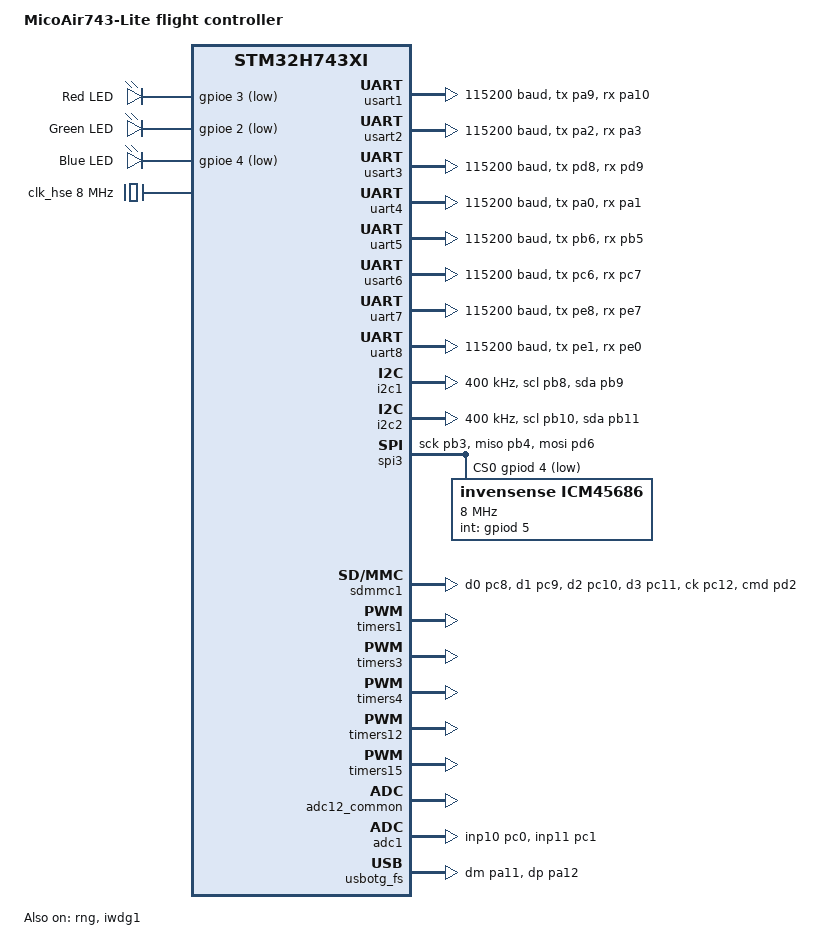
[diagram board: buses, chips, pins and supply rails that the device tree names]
/*
 * SPDX-FileCopyrightText: Copyright The Zephyr Project Contributors
 *
 * SPDX-License-Identifier: Apache-2.0
 */

/dts-v1/;
#include <st/h7/stm32h743Xi.dtsi>
#include <st/h7/stm32h743vitx-pinctrl.dtsi>
#include <zephyr/dt-bindings/sensor/icm45686.h>

/ {
	model = "MicoAir743-Lite flight controller";
	compatible = "micoair,micoair743-lite";

	chosen {
		zephyr,sram = &sram0;
		zephyr,flash = &flash0;
		zephyr,dtcm = &dtcm;
	};

	leds {
		compatible = "gpio-leds";

		red_led: led_0 {
			gpios = <&gpioe 3 GPIO_ACTIVE_LOW>;
			label = "Red LED";
		};

		green_led: led_1 {
			gpios = <&gpioe 2 GPIO_ACTIVE_LOW>;
			label = "Green LED";
		};

		blue_led: led_2 {
			gpios = <&gpioe 4 GPIO_ACTIVE_LOW>;
			label = "Blue LED";
		};
	};

	aliases {
		led0 = &blue_led;
		led1 = &green_led;
		led2 = &red_led;
		accel0 = &icm45686;
		sdhc0 = &sdmmc1;
		watchdog0 = &iwdg;
	};
};

&clk_hse {
	clock-frequency = <DT_FREQ_M(8)>;
	status = "okay";
};

&clk_hsi48 {
	status = "okay";
};

/* SYSCLK = 480 MHz, PLL1_Q = 192 MHz (SPI1/2/3 kernel clock) */
&pll {
	div-m = <2>;
	mul-n = <240>;
	div-p = <2>;
	div-q = <5>;
	div-r = <2>;
	clocks = <&clk_hse>;
	status = "okay";
};

/* PLL2_R = 48 MHz (SDMMC kernel clock) */
&pll2 {
	div-m = <2>;
	mul-n = <120>;
	div-p = <2>;
	div-q = <4>;
	div-r = <10>;
	clocks = <&clk_hse>;
	status = "okay";
};

&rcc {
	clocks = <&pll>;
	clock-frequency = <DT_FREQ_M(480)>;
	d1cpre = <1>;
	hpre = <2>;
	d1ppre = <2>;
	d2ppre1 = <2>;
	d2ppre2 = <2>;
	d3ppre = <2>;
};

&pwr {
	power-supply = "ldo";
};

/* TELEM1 */
&usart1 {
	pinctrl-0 = <&usart1_tx_pa9 &usart1_rx_pa10>;
	pinctrl-names = "default";
	current-speed = <115200>;
	status = "okay";
};

/* HD VTX (DisplayPort) */
&usart2 {
	pinctrl-0 = <&usart2_tx_pa2 &usart2_rx_pa3>;
	pinctrl-names = "default";
	current-speed = <115200>;
	status = "okay";
};

/* GPS */
&usart3 {
	pinctrl-0 = <&usart3_tx_pd8 &usart3_rx_pd9>;
	pinctrl-names = "default";
	current-speed = <115200>;
	status = "okay";
};

/* TELEM2 */
&uart4 {
	pinctrl-0 = <&uart4_tx_pa0 &uart4_rx_pa1>;
	pinctrl-names = "default";
	current-speed = <115200>;
	status = "okay";
};

&uart5 {
	pinctrl-0 = <&uart5_tx_pb6 &uart5_rx_pb5>;
	pinctrl-names = "default";
	current-speed = <115200>;
	status = "okay";
};

/* RC input */
&usart6 {
	pinctrl-0 = <&usart6_tx_pc6 &usart6_rx_pc7>;
	pinctrl-names = "default";
	current-speed = <115200>;
	status = "okay";
};

/* ESC telemetry */
&uart7 {
	pinctrl-0 = <&uart7_tx_pe8 &uart7_rx_pe7>;
	pinctrl-names = "default";
	current-speed = <115200>;
	status = "okay";
};

/* On-board Bluetooth module */
&uart8 {
	pinctrl-0 = <&uart8_tx_pe1 &uart8_rx_pe0>;
	pinctrl-names = "default";
	current-speed = <115200>;
	status = "okay";
};

/* External I2C connector */
&i2c1 {
	pinctrl-0 = <&i2c1_scl_pb8 &i2c1_sda_pb9>;
	pinctrl-names = "default";
	clock-frequency = <I2C_BITRATE_FAST>;
	status = "okay";
};

/* On-board SPA06 barometer at address 0x77, data ready on PD0 */
&i2c2 {
	pinctrl-0 = <&i2c2_scl_pb10 &i2c2_sda_pb11>;
	pinctrl-names = "default";
	clock-frequency = <I2C_BITRATE_FAST>;
	status = "okay";
};

&spi3 {
	pinctrl-0 = <&spi3_sck_pb3 &spi3_miso_pb4 &spi3_mosi_pd6>;
	pinctrl-names = "default";
	cs-gpios = <&gpiod 4 GPIO_ACTIVE_LOW>;
	status = "okay";

	icm45686: icm45686@0 {
		compatible = "invensense,icm45686";
		reg = <0>;
		spi-max-frequency = <DT_FREQ_M(8)>;
		int-gpios = <&gpiod 5 GPIO_ACTIVE_HIGH>;
		accel-pwr-mode = <ICM45686_DT_ACCEL_LN>;
		accel-fs = <ICM45686_DT_ACCEL_FS_16>;
		accel-odr = <ICM45686_DT_ACCEL_ODR_1600>;
		gyro-pwr-mode = <ICM45686_DT_GYRO_LN>;
		gyro-fs = <ICM45686_DT_GYRO_FS_2000>;
		gyro-odr = <ICM45686_DT_GYRO_ODR_1600>;
	};
};

&sdmmc1 {
	clocks = <&rcc STM32_CLOCK(AHB3, 16)>,
		 <&rcc STM32_SRC_PLL2_R SDMMC_SEL(1)>;
	pinctrl-0 = <&sdmmc1_d0_pc8 &sdmmc1_d1_pc9
		     &sdmmc1_d2_pc10 &sdmmc1_d3_pc11
		     &sdmmc1_ck_pc12 &sdmmc1_cmd_pd2>;
	pinctrl-names = "default";
	disk-name = "SD";
	status = "okay";
};

/*
 * Motor/servo outputs. All timers are clocked at 240 MHz; a prescaler of 239
 * gives a 1 MHz counter clock, suitable for standard servo and ESC PWM.
 */

/* M1-M4 */
&timers1 {
	st,prescaler = <239>;
	status = "okay";

	pwm1: pwm {
		pinctrl-0 = <&tim1_ch1_pe9 &tim1_ch2_pe11 &tim1_ch3_pe13 &tim1_ch4_pe14>;
		pinctrl-names = "default";
		status = "okay";
	};
};

/* M5-M8 */
&timers3 {
	st,prescaler = <239>;
	status = "okay";

	pwm3: pwm {
		pinctrl-0 = <&tim3_ch1_pa6 &tim3_ch2_pa7 &tim3_ch3_pb0 &tim3_ch4_pb1>;
		pinctrl-names = "default";
		status = "okay";
	};
};

/* M11, M12 and LED pad (M15) */
&timers4 {
	st,prescaler = <239>;
	status = "okay";

	pwm4: pwm {
		pinctrl-0 = <&tim4_ch1_pd12 &tim4_ch2_pd13 &tim4_ch3_pd14>;
		pinctrl-names = "default";
		status = "okay";
	};
};

/* M13, M14 */
&timers12 {
	st,prescaler = <239>;
	status = "okay";

	pwm12: pwm {
		pinctrl-0 = <&tim12_ch1_pb14 &tim12_ch2_pb15>;
		pinctrl-names = "default";
		status = "okay";
	};
};

/* M9, M10 */
&timers15 {
	st,prescaler = <239>;
	status = "okay";

	pwm15: pwm {
		pinctrl-0 = <&tim15_ch1_pe5 &tim15_ch2_pe6>;
		pinctrl-names = "default";
		status = "okay";
	};
};

&adc12_common {
	st,adc-clock-source = "SYNC";
	st,adc-prescaler = <4>;
	status = "okay";
};

/* Battery voltage (PC0, INP10) and current (PC1, INP11) sense */
&adc1 {
	pinctrl-0 = <&adc1_inp10_pc0 &adc1_inp11_pc1>;
	pinctrl-names = "default";
	status = "okay";
};

zephyr_udc0: &usbotg_fs {
	pinctrl-0 = <&usb_otg_fs_dm_pa11 &usb_otg_fs_dp_pa12>;
	pinctrl-names = "default";
	status = "okay";
};

#include <../boards/common/usb/cdc_acm_serial.dtsi>

&rng {
	status = "okay";
};

&backup_sram {
	status = "okay";
};

&iwdg1 {
	status = "okay";
};
